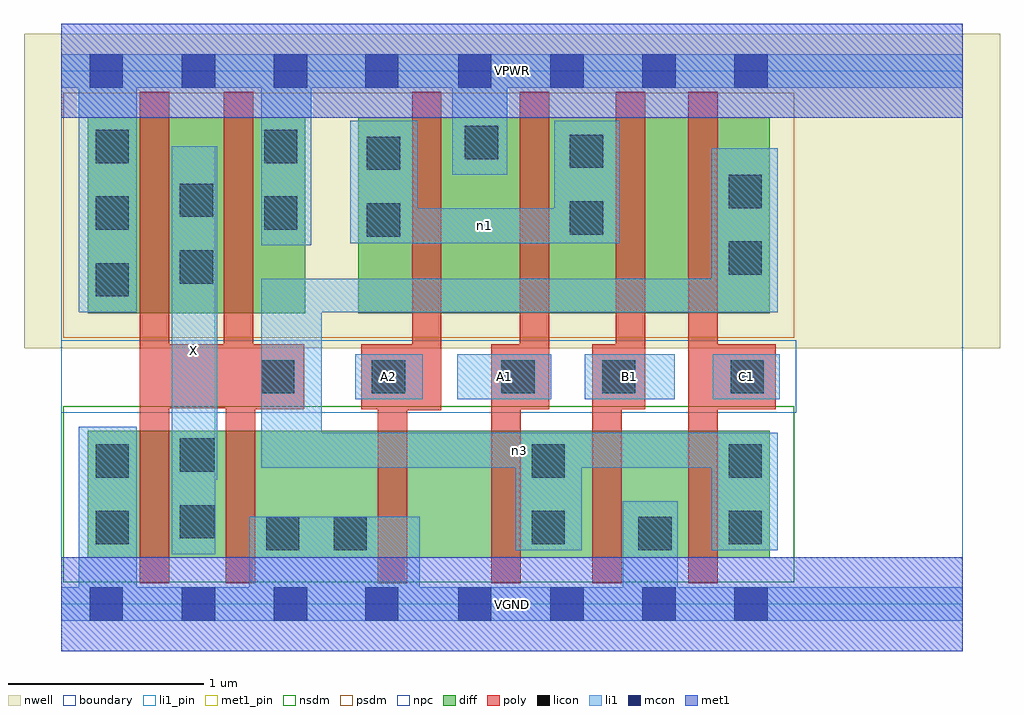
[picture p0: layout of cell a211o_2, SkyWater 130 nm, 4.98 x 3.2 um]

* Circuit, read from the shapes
.subckt a211o_2 A1 A2 B1 C1 VGND VPWR X n1 n3
XM1 X n3 VGND VSUBS sky130_fd_pr__nfet_01v8 w=0.65 l=0.15 m=2
XM2 n2 A2 VGND VSUBS sky130_fd_pr__nfet_01v8 w=0.65 l=0.15
XM3 n3 A1 n2 VSUBS sky130_fd_pr__nfet_01v8 w=0.65 l=0.15
XM4 VGND B1 n3 VSUBS sky130_fd_pr__nfet_01v8 w=0.65 l=0.15
XM5 n3 C1 VGND VSUBS sky130_fd_pr__nfet_01v8 w=0.65 l=0.15
XM6 X n3 VPWR n4 sky130_fd_pr__pfet_01v8 w=1 l=0.15 m=2
XM7 VPWR A2 n1 n4 sky130_fd_pr__pfet_01v8 w=1 l=0.15
XM8 n1 A1 VPWR n4 sky130_fd_pr__pfet_01v8 w=1 l=0.15
XM9 n5 B1 n1 n4 sky130_fd_pr__pfet_01v8 w=1 l=0.15
XM10 n3 C1 n5 n4 sky130_fd_pr__pfet_01v8 w=1 l=0.15
.ends

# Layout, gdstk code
import gdstk
lib = gdstk.Library(unit=1e-6, precision=1e-09)
def R(c, l, rs):  # rectangles x0, y0, x1, y1
    for r in rs: c.add(gdstk.rectangle(r[:2], r[2:], *l))
def A(c, l, x, y, w, h, nx, ny, dx, dy):  # array of equal rectangles
    R(c, l, [(x+i*dx, y+j*dy, x+i*dx+w, y+j*dy+h) for i in range(nx) for j in range(ny)])
nwell = (64, 20)
diff = (65, 20)
poly = (66, 20)
licon = (66, 44)
li1_pin = (67, 16)
li1 = (67, 20)
mcon = (67, 44)
met1_pin = (68, 16)
met1 = (68, 20)
nsdm = (93, 44)
psdm = (94, 20)
npc = (95, 20)
boundary = (235, 4)

a211o_2 = lib.new_cell('a211o_2')
R(a211o_2, nwell, [(-0.19,1.305,4.79,2.91), (0,1.305,4.6,2.91)])
R(a211o_2, diff, [(0.135,0.235,3.615,0.885), (0.135,1.485,1.245,2.485), (1.515,1.485,3.615,2.485)])
R(a211o_2, poly, [(0.4,0.105,0.55,2.615), (0.84,0.105,0.99,1.325), (1.615,0.105,1.765,1.325), (2.195,0.105,2.345,1.325), (2.71,0.105,2.86,1.325), (3.2,0.105,3.35,2.615), (1.615,0.99,1.94,1.325), (1.79,0.99,1.94,2.615), (0.84,0.995,1.24,1.325), (1.53,0.995,1.94,1.325), (2.34,0.995,2.49,2.615), (2.83,0.995,2.98,2.615), (3.2,0.995,3.645,1.325), (0.4,1,1.24,1.325), (0.83,1,0.98,2.615)])
A(a211o_2, licon, 0.175, 1.57, 0.17, 0.17, 1, 3, 0, 0.34)
R(a211o_2, licon, [(1.045,0.275,1.215,0.445), (1.39,0.275,1.56,0.445), (2.945,0.275,3.115,0.445), (0.175,0.305,0.345,0.475), (2.4,0.305,2.57,0.475), (3.405,0.305,3.575,0.475), (0.605,0.335,0.775,0.505), (0.61,0.335,0.78,0.505), (0.175,0.645,0.345,0.815), (2.4,0.645,2.57,0.815), (3.405,0.645,3.575,0.815), (0.605,0.675,0.775,0.845), (0.61,0.675,0.78,0.845), (1.02,1.075,1.19,1.245), (1.585,1.075,1.755,1.245), (2.245,1.075,2.415,1.245), (2.76,1.075,2.93,1.245), (3.415,1.075,3.585,1.245), (0.605,1.635,0.775,1.805), (3.405,1.68,3.575,1.85), (1.56,1.875,1.73,2.045), (2.595,1.885,2.765,2.055), (1.035,1.91,1.205,2.08), (0.605,1.975,0.775,2.145), (3.405,2.02,3.575,2.19), (1.56,2.215,1.73,2.385), (2.595,2.225,2.765,2.395), (1.035,2.25,1.205,2.42), (2.06,2.27,2.23,2.44)])
R(a211o_2, li1_pin, [(0.565,0.255,0.785,2.335), (1.5,1.045,1.845,1.275), (2.02,1.045,2.5,1.275), (2.67,1.045,3.13,1.275), (3.325,1.045,3.665,1.275)])
R(a211o_2, li1, [(0,-0.085,4.6,0.085), (0.09,-0.085,0.385,0.905), (0.96,-0.085,1.83,0.445), (2.865,-0.085,3.145,0.525), (0.565,0.255,0.785,2.335), (2.32,0.275,2.655,0.875), (3.32,0.275,3.655,0.875), (0.565,0.635,0.795,2.335), (1.02,0.695,3.655,0.875), (1.02,0.695,1.33,1.66), (1.5,1.045,1.845,1.275), (2.02,1.045,2.5,1.275), (2.67,1.045,3.13,1.275), (3.325,1.045,3.665,1.275), (0.09,1.49,0.385,2.805), (1.02,1.49,3.655,1.66), (3.32,1.49,3.655,2.325), (1.02,1.83,1.275,2.805), (1.475,1.84,2.85,2.02), (1.475,1.84,1.82,2.465), (2.515,1.84,2.85,2.465), (1.995,2.19,2.275,2.805), (0,2.635,4.6,2.805)])
A(a211o_2, mcon, 0.145, -0.085, 0.17, 0.17, 3, 2, 0.47, 2.72)
A(a211o_2, mcon, 2.025, -0.085, 0.17, 0.17, 4, 2, 0.47, 2.72)
R(a211o_2, mcon, [(1.55,-0.085,1.72,0.085), (1.55,2.635,1.72,2.805)])
R(a211o_2, met1_pin, [(0,-0.24,4.6,0.24), (0,2.48,4.6,2.96)])
R(a211o_2, met1, [(0,-0.24,4.6,0.24), (0,2.48,4.6,2.96)])
R(a211o_2, nsdm, [(0.01,0.11,3.74,1.01)])
R(a211o_2, psdm, [(0.01,1.36,3.74,2.61)])
R(a211o_2, npc, [(0,0.975,3.75,1.345)])
R(a211o_2, boundary, [(0,0,4.6,2.72)])
a211o_2.add(gdstk.Label('A1', (2.26,1.16), layer=67, texttype=5))
a211o_2.add(gdstk.Label('A2', (1.672,1.16), layer=67, texttype=5))
a211o_2.add(gdstk.Label('B1', (2.9,1.16), layer=67, texttype=5))
a211o_2.add(gdstk.Label('C1', (3.495,1.16), layer=67, texttype=5))
a211o_2.add(gdstk.Label('X', (0.675,1.295), layer=67, texttype=5))
a211o_2.add(gdstk.Label('n3', (2.337,0.785), layer=67, texttype=5))
a211o_2.add(gdstk.Label('n1', (2.162,1.93), layer=67, texttype=5))
a211o_2.add(gdstk.Label('VPWR', (2.3,2.72), layer=68, texttype=5))
a211o_2.add(gdstk.Label('VGND', (2.3,0), layer=68, texttype=5))
a211o_2.add(gdstk.Label('A1', (2.26,1.16), layer=67, texttype=16))
a211o_2.add(gdstk.Label('A2', (1.672,1.16), layer=67, texttype=16))
a211o_2.add(gdstk.Label('B1', (2.9,1.16), layer=67, texttype=16))
a211o_2.add(gdstk.Label('C1', (3.495,1.16), layer=67, texttype=16))
a211o_2.add(gdstk.Label('X', (0.675,1.295), layer=67, texttype=16))
a211o_2.add(gdstk.Label('VPWR', (2.3,2.72), layer=68, texttype=16))
a211o_2.add(gdstk.Label('VGND', (2.3,0), layer=68, texttype=16))

lib.write_gds('a211o_2.gds')
